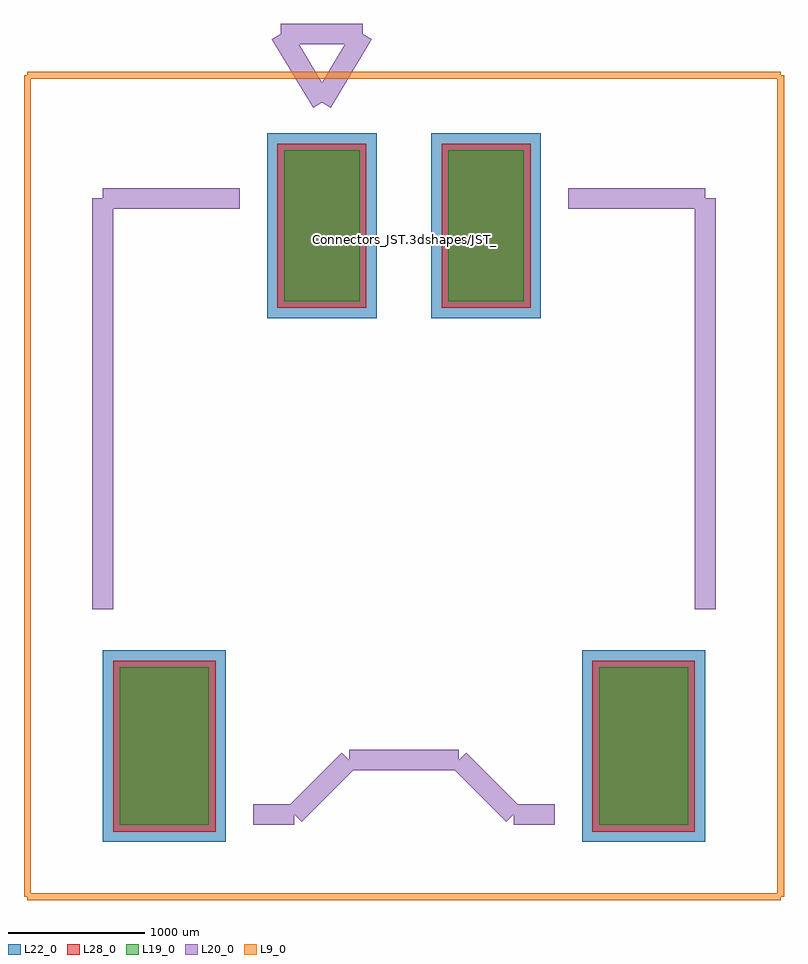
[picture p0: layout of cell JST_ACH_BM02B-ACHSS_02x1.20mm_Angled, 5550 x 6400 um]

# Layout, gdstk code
import gdstk
lib = gdstk.Library(unit=1e-6, precision=1e-09)
def R(c, l, rs):  # rectangles x0, y0, x1, y1
    for r in rs: c.add(gdstk.rectangle(r[:2], r[2:], *l))
L9_0 = (9, 0)
L19_0 = (19, 0)
L20_0 = (20, 0)
L22_0 = (22, 0)
L28_0 = (28, 0)

jst_ach_bm02b_achss_02x1 = lib.new_cell('JST_ACH_BM02B-ACHSS_02x1.20mm_Angled')
R(jst_ach_bm02b_achss_02x1, L19_0, [(-2075,-2475,-1425,-1325), (1425,-2475,2075,-1325), (-874.44,1350,-324.44,2450), (324.44,1350,874.44,2450)])
R(jst_ach_bm02b_achss_02x1, L22_0, [(-2200,-2600,-1300,-1200), (1300,-2600,2200,-1200), (-999.44,1225,-199.44,2575), (199.44,1225,999.44,2575)])
R(jst_ach_bm02b_achss_02x1, L28_0, [(-2125,-2525,-1375,-1275), (1375,-2525,2125,-1275), (-924.44,1300,-274.44,2500), (274.44,1300,924.44,2500)])
jst_ach_bm02b_achss_02x1.add(gdstk.FlexPath([(-2200,2100),(-1200,2100)], 149.998, ends="flush", simple_path=True, layer=20, datatype=0))  # L20_0
jst_ach_bm02b_achss_02x1.add(gdstk.FlexPath([(-2200,-900),(-2200,2100.66)], 149.998, ends="flush", simple_path=True, layer=20, datatype=0))  # L20_0
jst_ach_bm02b_achss_02x1.add(gdstk.FlexPath([(1200,2100),(2200,2100)], 149.998, ends="flush", simple_path=True, layer=20, datatype=0))  # L20_0
jst_ach_bm02b_achss_02x1.add(gdstk.FlexPath([(2200,-900),(2200,2100.66)], 149.998, ends="flush", simple_path=True, layer=20, datatype=0))  # L20_0
jst_ach_bm02b_achss_02x1.add(gdstk.FlexPath([(-800,-2400),(-1100,-2400)], 149.998, ends="flush", simple_path=True, layer=20, datatype=0))  # L20_0
jst_ach_bm02b_achss_02x1.add(gdstk.FlexPath([(-400,-2000),(-800,-2400)], 149.998, ends="flush", simple_path=True, layer=20, datatype=0))  # L20_0
jst_ach_bm02b_achss_02x1.add(gdstk.FlexPath([(400,-2000),(-400,-2000)], 149.998, ends="flush", simple_path=True, layer=20, datatype=0))  # L20_0
jst_ach_bm02b_achss_02x1.add(gdstk.FlexPath([(800,-2400),(400,-2000)], 149.998, ends="flush", simple_path=True, layer=20, datatype=0))  # L20_0
jst_ach_bm02b_achss_02x1.add(gdstk.FlexPath([(1100,-2400),(800.1,-2400)], 149.998, ends="flush", simple_path=True, layer=20, datatype=0))  # L20_0
jst_ach_bm02b_achss_02x1.add(gdstk.FlexPath([(-900,3300),(-600,2800)], 149.998, ends="flush", simple_path=True, layer=20, datatype=0))  # L20_0
jst_ach_bm02b_achss_02x1.add(gdstk.FlexPath([(-300,3300),(-900,3300)], 149.998, ends="flush", simple_path=True, layer=20, datatype=0))  # L20_0
jst_ach_bm02b_achss_02x1.add(gdstk.FlexPath([(-600,2800),(-300,3300)], 149.998, ends="flush", simple_path=True, layer=20, datatype=0))  # L20_0
jst_ach_bm02b_achss_02x1.add(gdstk.FlexPath([(2750,-3000),(-2750,-3000)], 50, ends="flush", simple_path=True, layer=9, datatype=0))  # L9_0
jst_ach_bm02b_achss_02x1.add(gdstk.FlexPath([(-2750,-3000),(-2750,3000)], 50, ends="flush", simple_path=True, layer=9, datatype=0))  # L9_0
jst_ach_bm02b_achss_02x1.add(gdstk.FlexPath([(-2750,3000),(2750,3000)], 50, ends="flush", simple_path=True, layer=9, datatype=0))  # L9_0
jst_ach_bm02b_achss_02x1.add(gdstk.FlexPath([(2750,3000),(2750,-3000)], 50, ends="flush", simple_path=True, layer=9, datatype=0))  # L9_0
jst_ach_bm02b_achss_02x1.add(gdstk.Label('Connectors_JST.3dshapes/JST_ACH_BM02B-ACHSS_02x1.20mm_Angled.wrl', (0,1800), layer=12, texttype=0))
jst_ach_bm02b_achss_02x1.add(gdstk.Label('2', (599.44,1900), layer=28, texttype=0))
jst_ach_bm02b_achss_02x1.add(gdstk.Label('1', (-599.44,1900), layer=28, texttype=0))
jst_ach_bm02b_achss_02x1.add(gdstk.Label('type', (0,4400), layer=9, texttype=0))
jst_ach_bm02b_achss_02x1.add(gdstk.Label('devicename', (0,-3800), layer=9, texttype=0))

lib.write_gds('JST_ACH_BM02B-ACHSS_02x1.20mm_Angled.gds')
